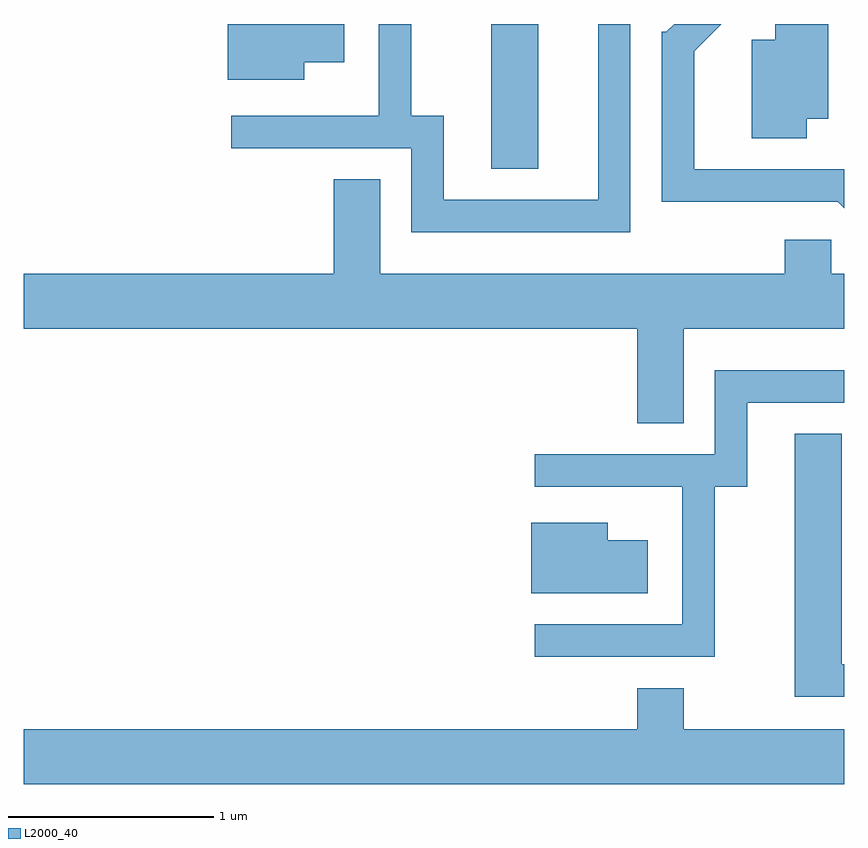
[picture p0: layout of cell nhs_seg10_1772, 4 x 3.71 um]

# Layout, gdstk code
import gdstk
lib = gdstk.Library(unit=1e-6, precision=1e-09)
def R(c, l, rs):  # rectangles x0, y0, x1, y1
    for r in rs: c.add(gdstk.rectangle(r[:2], r[2:], *l))
def P(c, l, *ps):  # polygons
    for p in ps: c.add(gdstk.Polygon(p, *l))
L2000_40 = (2000, 40)

nhs_seg10_1772 = lib.new_cell('nhs_seg10_1772')
R(nhs_seg10_1772, L2000_40, [(239.891,2105.816,240.119,2106.522)])
P(nhs_seg10_1772, L2000_40, [(240.569,2106.522),(240.411,2106.522),(240.411,2105.664),(239.659,2105.664),(239.659,2106.074),(239.499,2106.074),(239.499,2106.522),(239.341,2106.522),(239.341,2106.074),(238.623,2106.074),(238.623,2105.916),(239.501,2105.916),(239.501,2105.506),(240.569,2105.506)],
  [(241.611,2105.814),(240.879,2105.814),(240.879,2106.389),(241.012,2106.522),(240.782,2106.522),(240.744,2106.484),(240.721,2106.484),(240.721,2105.656),(241.579,2105.656),(241.611,2105.624)],
  [(241.429,2106.061),(241.534,2106.061),(241.534,2106.522),(241.276,2106.522),(241.276,2106.444),(241.161,2106.444),(241.161,2105.966),(241.429,2105.966)],
  [(238.979,2106.336),(239.174,2106.336),(239.174,2106.522),(238.606,2106.522),(238.606,2106.251),(238.979,2106.251)],
  [(240.829,2105.036),(241.611,2105.036),(241.611,2105.304),(241.549,2105.304),(241.549,2105.469),(241.321,2105.469),(241.321,2105.304),(239.349,2105.304),(239.349,2105.764),(239.121,2105.764),(239.121,2105.304),(237.611,2105.304),(237.611,2105.036),(240.601,2105.036),(240.601,2104.576),(240.829,2104.576)],
  [(240.979,2104.266),(241.139,2104.266),(241.139,2104.676),(241.611,2104.676),(241.611,2104.834),(240.981,2104.834),(240.981,2104.424),(240.103,2104.424),(240.103,2104.266),(240.821,2104.266),(240.821,2103.594),(240.103,2103.594),(240.103,2103.436),(240.979,2103.436)],
  [(241.611,2103.399),(241.599,2103.399),(241.599,2104.524),(241.371,2104.524),(241.371,2103.241),(241.611,2103.241)],
  [(240.654,2104.004),(240.459,2104.004),(240.459,2104.089),(240.086,2104.089),(240.086,2103.746),(240.654,2103.746)],
  [(241.611,2103.084),(240.829,2103.084),(240.829,2103.284),(240.601,2103.284),(240.601,2103.084),(237.611,2103.084),(237.611,2102.816),(241.611,2102.816)])

lib.write_gds('nhs_seg10_1772.gds')
